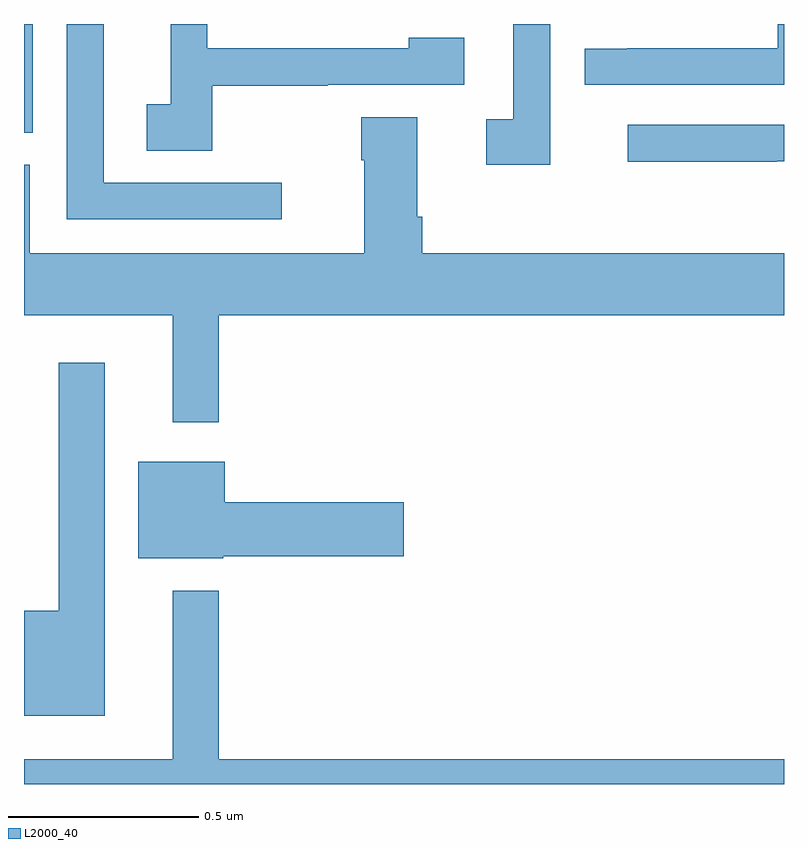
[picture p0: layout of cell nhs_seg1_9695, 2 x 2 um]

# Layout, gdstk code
import gdstk
lib = gdstk.Library(unit=1e-6, precision=1e-09)
def R(c, l, rs):  # rectangles x0, y0, x1, y1
    for r in rs: c.add(gdstk.rectangle(r[:2], r[2:], *l))
def P(c, l, *ps):  # polygons
    for p in ps: c.add(gdstk.Polygon(p, *l))
L2000_40 = (2000, 40)

nhs_seg1_9695 = lib.new_cell('nhs_seg1_9695')
R(nhs_seg1_9695, L2000_40, [(232,518.913,232.023,519.199)])
P(nhs_seg1_9695, L2000_40, [(232.495,519.037),(232.799,519.037),(232.799,519.039),(233.158,519.039),(233.158,519.163),(233.013,519.163),(233.013,519.135),(232.482,519.135),(232.482,519.199),(232.386,519.199),(232.386,518.988),(232.323,518.988),(232.323,518.866),(232.495,518.866)],
  [(232.678,518.781),(232.21,518.781),(232.21,519.199),(232.113,519.199),(232.113,518.685),(232.678,518.685)],
  [(234,519.199),(233.983,519.199),(233.983,519.135),(233.587,519.135),(233.587,519.134),(233.475,519.134),(233.475,519.039),(234,519.039)],
  [(233.385,519.199),(233.288,519.199),(233.288,518.949),(233.217,518.949),(233.217,518.829),(233.385,518.829)],
  [(232.513,518.432),(234,518.432),(234,518.596),(233.048,518.596),(233.048,518.692),(233.035,518.692),(233.035,518.953),(232.888,518.953),(232.888,518.84),(232.895,518.84),(232.895,518.596),(232.015,518.596),(232.015,518.828),(232,518.828),(232,518.432),(232.391,518.432),(232.391,518.151),(232.513,518.151)],
  [(233.981,518.838),(234,518.838),(234,518.934),(233.589,518.934),(233.589,518.836),(233.981,518.836)],
  [(232.213,518.308),(232.092,518.308),(232.092,517.655),(232,517.655),(232,517.379),(232.213,517.379)],
  [(232.524,517.799),(232.999,517.799),(232.999,517.941),(232.528,517.941),(232.528,518.047),(232.301,518.047),(232.301,517.793),(232.524,517.793)],
  [(234,517.264),(232.513,517.264),(232.513,517.708),(232.391,517.708),(232.391,517.264),(232,517.264),(232,517.199),(234,517.199)])

lib.write_gds('nhs_seg1_9695.gds')
